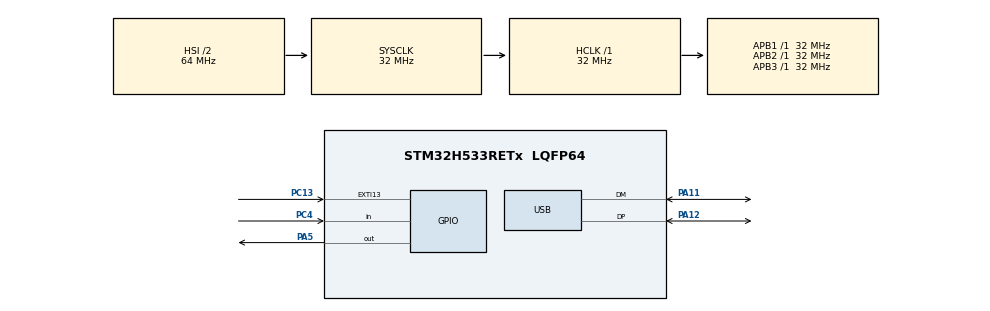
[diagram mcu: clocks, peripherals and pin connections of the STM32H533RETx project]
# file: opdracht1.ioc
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CORTEX_M33_NS.userName=CORTEX_M33
Mcu.Family=STM32H5
Mcu.Name=STM32H533RETx
Mcu.Package=LQFP64
NUCLEO-H533RE.BUTTON=1
NUCLEO-H533RE.LD4=true
NUCLEO-H533RE.VCP=true
NVIC.EXTI13_IRQn=true\:0\:0\:false\:false\:true\:false\:true\:true
NVIC.PriorityGroup=NVIC_PRIORITYGROUP_4
NVIC.USB_DRD_FS_IRQn=true\:0\:0\:false\:false\:true\:true\:true\:true
PA11.Mode=Device
PA11.Signal=USB_DM
PA12.Mode=Device
PA12.Signal=USB_DP
PA13(JTMS/SWDIO).GPIO_Label=SWDIO
PA13(JTMS/SWDIO).Signal=DEBUG_JTMS-SWDIO
PA14(JTCK/SWCLK).GPIO_Label=SWCLK
PA14(JTCK/SWCLK).Signal=DEBUG_JTCK-SWCLK
PA15(JTDI).GPIO_Label=JTDI
PA15(JTDI).Signal=DEBUG_JTDI
PA2.Signal=USART2_TX
PA3.Signal=USART2_RX
PA5.Signal=GPIO_Output
PB3(JTDO/TRACESWO).GPIO_Label=SWO
PB3(JTDO/TRACESWO).Signal=DEBUG_JTDO-SWO
PC13.Signal=GPXTI13
PC4.Signal=GPIO_Input
ProjectManager.HeapSize=0x200
ProjectManager.StackSize=0x400
ProjectManager.TargetToolchain=MDK-ARM V5.37
RCC.ADCFreq_Value=32000000
RCC.AHBFreq_Value=32000000
RCC.APB1Freq_Value=32000000
RCC.APB1TimFreq_Value=32000000
RCC.APB2Freq_Value=32000000
RCC.APB2TimFreq_Value=32000000
RCC.APB3Freq_Value=32000000
RCC.CSI_VALUE=4000000
RCC.CortexFreq_Value=32000000
RCC.EPOD_VALUE=4000000
RCC.HCLKFreq_Value=32000000
RCC.HSE_VALUE=25000000
RCC.HSI48_VALUE=48000000
RCC.HSI_VALUE=64000000
RCC.LSE_VALUE=32768
RCC.LSIRC_VALUE=32000
RCC.SYSCLKFreq_VALUE=32000000
RCC.USBFreq_Value=48000000
RCC.VCOOutputFreq_Value=516000000
USB.VirtualMode=Device_Only
VP_BOOTPATH_VS_BOOTPATH.Mode=BP_Activate
VP_CORTEX_M33_NS_VS_Hclk.Mode=Hclk_Mode
VP_MEMORYMAP_VS_MEMORYMAP.Mode=CurAppReg
VP_NUCLEO-H533RE_VS_BSP_COMMON.Mode=COMMON
VP_PWR_VS_LPOM.Mode=PowerOptimisation
VP_PWR_VS_SECSignals.Mode=Security/Privilege
board=NUCLEO-H533RE

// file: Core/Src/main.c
/* USER CODE BEGIN Header */
/**
  ******************************************************************************
  * @file           : main.c
  * @brief          : Main program body
  ******************************************************************************
  * @attention
  *
  * Copyright (c) 2026 STMicroelectronics.
  * All rights reserved.
  *
  * This software is licensed under terms that can be found in the LICENSE file
  * in the root directory of this software component.
  * If no LICENSE file comes with this software, it is provided AS-IS.
  *
  ******************************************************************************
  */
/* USER CODE END Header */
#include "main.h"
#include "tusb.h"

COM_InitTypeDef BspCOMInit;

PCD_HandleTypeDef hpcd_USB_DRD_FS;

void SystemClock_Config(void);
static void MX_GPIO_Init(void);
static void MX_USB_PCD_Init(void);

/* USER CODE BEGIN 0 */

// TinyUSB requires this function for timing
uint32_t tusb_time_millis_api(void) {
  return HAL_GetTick();
}

/* USER CODE END 0 */

int main(void)
{

  /* MCU Configuration--------------------------------------------------------*/

  /* Reset of all peripherals, Initializes the Flash interface and the Systick. */
  HAL_Init();

  /* Configure the system clock */
  SystemClock_Config();

  /* Initialize all configured peripherals */
  MX_GPIO_Init();
  MX_USB_PCD_Init();
  /* USER CODE BEGIN 2 */

  // Initialize TinyUSB stack (CRITICAL - was missing!)
  tusb_init();

  // Enable USB pull-up to signal device presence to host
  HAL_PCD_DevConnect(&hpcd_USB_DRD_FS);

  /* USER CODE END 2 */

  /* Initialize leds */
  BSP_LED_Init(LED_GREEN);

  /* Initialize USER push-button, will be used to trigger an interrupt each time it's pressed.*/
  BSP_PB_Init(BUTTON_USER, BUTTON_MODE_EXTI);

  /* Initialize COM1 port (115200, 8 bits (7-bit data + 1 stop bit), no parity */
  BspCOMInit.BaudRate   = 115200;
  BspCOMInit.WordLength = COM_WORDLENGTH_8B;
  BspCOMInit.StopBits   = COM_STOPBITS_1;
  BspCOMInit.Parity     = COM_PARITY_NONE;
  BspCOMInit.HwFlowCtl  = COM_HWCONTROL_NONE;
  if (BSP_COM_Init(COM1, &BspCOMInit) != BSP_ERROR_NONE)
  {
    Error_Handler();
  }

  /* Infinite loop */
  /* USER CODE BEGIN WHILE */

uint32_t board_millis = 0;
  bool noot_aan = false;

  while (1)
  {
    // 1. TinyUSB Task (Houdt de USB verbinding levend)
    tud_task();

    // 2. Timer logica: Elke 1000ms (1 seconde) iets doen
    if (HAL_GetTick() - board_millis > 1000)
    {
      board_millis = HAL_GetTick();

      // Alleen sturen als de USB kabel verbonden is met PC
      if (tud_mounted())
      {
         if (!noot_aan)
         {
             // Note ON sturen (C4, Velocity 127)
             uint8_t note_on_msg[3] = { 0x90, 60, 127 };
             tud_midi_stream_write(0, note_on_msg, 3);
             noot_aan = true;
         }
         else
         {
             // Note OFF sturen
             uint8_t note_off_msg[3] = { 0x80, 60, 0 };
             tud_midi_stream_write(0, note_off_msg, 3);
             noot_aan = false;
         }
      }
    }
    /* USER CODE END WHILE */

  }
}

void SystemClock_Config(void)
{
  RCC_OscInitTypeDef RCC_OscInitStruct = {0};
  RCC_ClkInitTypeDef RCC_ClkInitStruct = {0};

  /** Configure the main internal regulator output voltage
  */
  __HAL_PWR_VOLTAGESCALING_CONFIG(PWR_REGULATOR_VOLTAGE_SCALE3);

  while(!__HAL_PWR_GET_FLAG(PWR_FLAG_VOSRDY)) {}

  /** Initializes the RCC Oscillators according to the specified parameters
  * in the RCC_OscInitTypeDef structure.
  */
  RCC_OscInitStruct.OscillatorType = RCC_OSCILLATORTYPE_HSI48|RCC_OSCILLATORTYPE_HSI;
  RCC_OscInitStruct.HSIState = RCC_HSI_ON;
  RCC_OscInitStruct.HSIDiv = RCC_HSI_DIV2;
  RCC_OscInitStruct.HSICalibrationValue = RCC_HSICALIBRATION_DEFAULT;
  RCC_OscInitStruct.HSI48State = RCC_HSI48_ON;
  RCC_OscInitStruct.PLL.PLLState = RCC_PLL_NONE;
  if (HAL_RCC_OscConfig(&RCC_OscInitStruct) != HAL_OK)
  {
    Error_Handler();
  }

  /** Initializes the CPU, AHB and APB buses clocks
  */
  RCC_ClkInitStruct.ClockType = RCC_CLOCKTYPE_HCLK|RCC_CLOCKTYPE_SYSCLK
                              |RCC_CLOCKTYPE_PCLK1|RCC_CLOCKTYPE_PCLK2
                              |RCC_CLOCKTYPE_PCLK3;
  RCC_ClkInitStruct.SYSCLKSource = RCC_SYSCLKSOURCE_HSI;
  RCC_ClkInitStruct.AHBCLKDivider = RCC_SYSCLK_DIV1;
  RCC_ClkInitStruct.APB1CLKDivider = RCC_HCLK_DIV1;
  RCC_ClkInitStruct.APB2CLKDivider = RCC_HCLK_DIV1;
  RCC_ClkInitStruct.APB3CLKDivider = RCC_HCLK_DIV1;

  if (HAL_RCC_ClockConfig(&RCC_ClkInitStruct, FLASH_LATENCY_1) != HAL_OK)
  {
    Error_Handler();
  }

  /** Configure the programming delay
  */
  __HAL_FLASH_SET_PROGRAM_DELAY(FLASH_PROGRAMMING_DELAY_0);
}

static void MX_USB_PCD_Init(void)
{

  hpcd_USB_DRD_FS.Instance = USB_DRD_FS;
  hpcd_USB_DRD_FS.Init.dev_endpoints = 8;
  hpcd_USB_DRD_FS.Init.speed = USBD_FS_SPEED;
  hpcd_USB_DRD_FS.Init.phy_itface = PCD_PHY_EMBEDDED;
  hpcd_USB_DRD_FS.Init.Sof_enable = DISABLE;
  hpcd_USB_DRD_FS.Init.low_power_enable = DISABLE;
  hpcd_USB_DRD_FS.Init.lpm_enable = DISABLE;
  hpcd_USB_DRD_FS.Init.battery_charging_enable = DISABLE;
  hpcd_USB_DRD_FS.Init.vbus_sensing_enable = DISABLE;
  hpcd_USB_DRD_FS.Init.bulk_doublebuffer_enable = DISABLE;
  hpcd_USB_DRD_FS.Init.iso_singlebuffer_enable = DISABLE;
  if (HAL_PCD_Init(&hpcd_USB_DRD_FS) != HAL_OK)
  {
    Error_Handler();
  }

}

static void MX_GPIO_Init(void)
{
  GPIO_InitTypeDef GPIO_InitStruct = {0};

  /* GPIO Ports Clock Enable */
  __HAL_RCC_GPIOC_CLK_ENABLE();
  __HAL_RCC_GPIOA_CLK_ENABLE();
  __HAL_RCC_GPIOB_CLK_ENABLE();

  /*Configure GPIO pin : PC4 */
  GPIO_InitStruct.Pin = GPIO_PIN_4;
  GPIO_InitStruct.Mode = GPIO_MODE_INPUT;
  GPIO_InitStruct.Pull = GPIO_NOPULL;
  HAL_GPIO_Init(GPIOC, &GPIO_InitStruct);

}

/* USER CODE BEGIN 4 */
uint32_t board_millis(void)
{
  return HAL_GetTick();
}
/* USER CODE END 4 */

void Error_Handler(void)
{
  __disable_irq();
  while (1)
  {
  }
}
